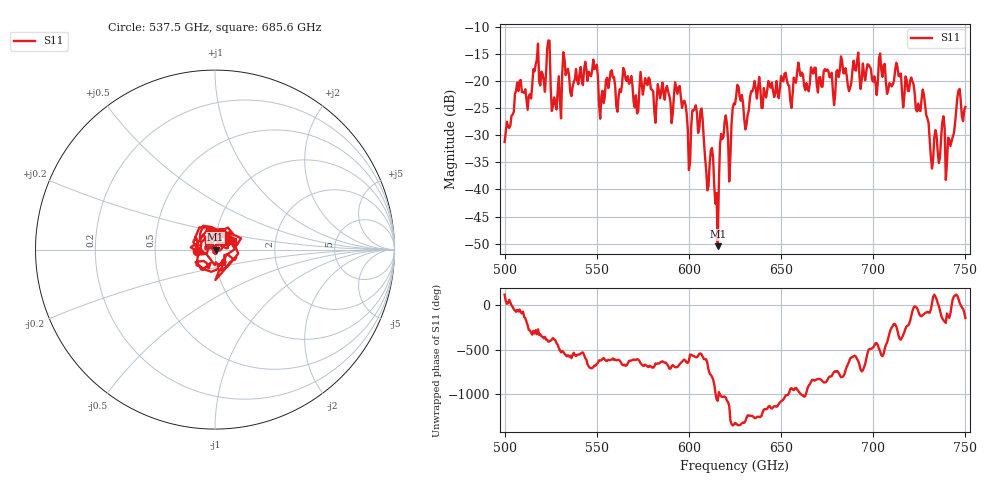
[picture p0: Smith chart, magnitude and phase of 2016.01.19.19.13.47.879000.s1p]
!Created with skrf (http://scikit-rf.org).
# GHz S RI R 50.0
!freq ReS11 ImS11
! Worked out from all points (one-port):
!   401 points, 500 GHz to 750 GHz, reference 50 ohm
!   lowest |S11| = -50.5 dB at 615.6 GHz (marker M1), VSWR 1.01, Z = 50.3 + j0.0373 ohm
!   |S11| at or under -10 dB: start of sweep to end of sweep
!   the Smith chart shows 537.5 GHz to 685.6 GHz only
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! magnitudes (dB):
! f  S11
! 500 GHz  -31.2
! 507.5 GHz  -21.8
! 513.1 GHz  -22.7
! 516.9 GHz  -16.9
! 523.8 GHz  -12.5
! 526.9 GHz  -23.0
! 531.2 GHz  -18.7
! 548.8 GHz  -17.8
! 552.5 GHz  -22.8
! 558.1 GHz  -18.0
! 562.5 GHz  -21.5
! 593.8 GHz  -22.3
! 600 GHz  -36.4
! 603.1 GHz  -25.0
! 606.9 GHz  -25.0
! 609.4 GHz  -36.4
! 615.6 GHz  -50.5
! 618.1 GHz  -30.7
! 622.5 GHz  -33.9
! 625 GHz  -24.3
! 631.2 GHz  -28.0
! 635 GHz  -21.2
! 656.2 GHz  -22.5
! 687.5 GHz  -21.2
! 718.8 GHz  -21.8
! 727.5 GHz  -22.5
! 731.9 GHz  -36.1
! 750 GHz  -24.8
